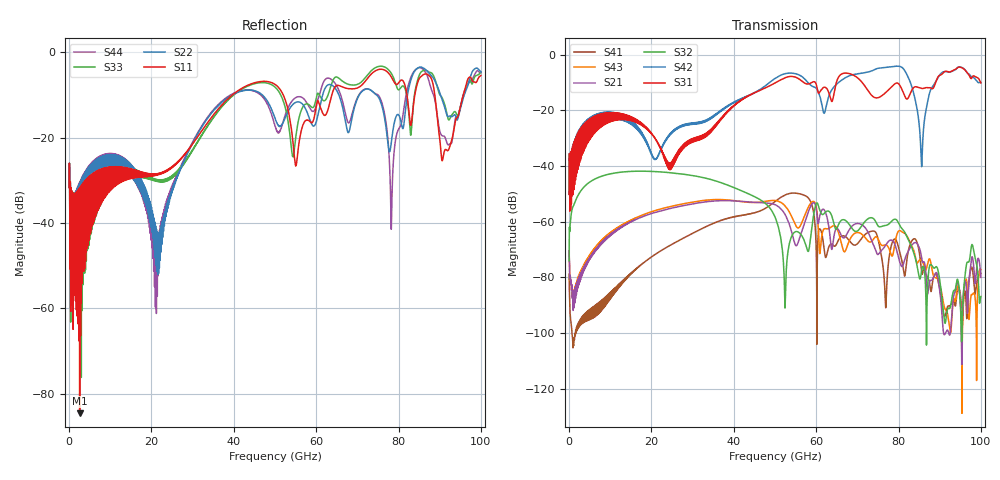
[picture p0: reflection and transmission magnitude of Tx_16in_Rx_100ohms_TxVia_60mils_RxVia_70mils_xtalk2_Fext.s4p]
! Info: Touchstone file created by Circ.  Input file=Tx_16in_Rx_100ohms_TxVia_60mils_RxVia_70mils.circ
# Hz S RI R 50
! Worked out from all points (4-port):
!   10000 points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, 10 MHz to 100 GHz, reference 50 ohm
!   strongest paths, dB at 10 MHz, 25.01 GHz, 50.01 GHz, 75.01 GHz, 100 GHz:
!     S31: -50.2, -40.3, -10.2, -15.5, -10.1
!     S42: -50.2, -27.7, -8.5, -4.9, -10.0
!     S32: -74.1, -42.5, -58.3, -61.4, -86.9
!     S21: -70.5, -55.1, -53.9, -71.8, -80.0
!     S43: -70.5, -54.4, -52.4, -66.1, -77.2
!     S41: -78.9, -68.1, -52.7, -66.1, -78.5
!   lowest |S11| = -84.6 dB at 2.57 GHz (marker M1), VSWR 1.00, Z = 50 + j0.00486 ohm
!   |S11| at or under -10 dB: start of sweep to 39.58 GHz; 52 GHz to 63.79 GHz (11.79 GHz wide, 20.4 % of centre); 88.82 GHz to 95.74 GHz (6.921 GHz wide, 7.5 % of centre)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
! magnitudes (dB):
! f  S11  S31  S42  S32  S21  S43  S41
! 10 MHz  -31.7  -50.2  -50.2  -74.1  -70.5  -70.5  -78.9
! 2.57 GHz  -84.6  -36.6  -34.0  -49.6  -81.5  -80.0  -95.8
! 21.21 GHz  -28.6  -30.9  -37.3  -42.0  -56.5  -55.8  -71.4
! 54.5 GHz  -22.3  -7.9  -6.7  -64.1  -66.2  -59.6  -49.7
! 78.27 GHz  -5.8  -11.6  -4.3  -59.9  -66.6  -72.1  -68.4
! 85.59 GHz  -5.6  -12.1  -40.1  -77.8  -72.9  -73.9  -77.8
! 100 GHz  -5.4  -10.1  -10.0  -86.9  -80.0  -77.2  -78.5
